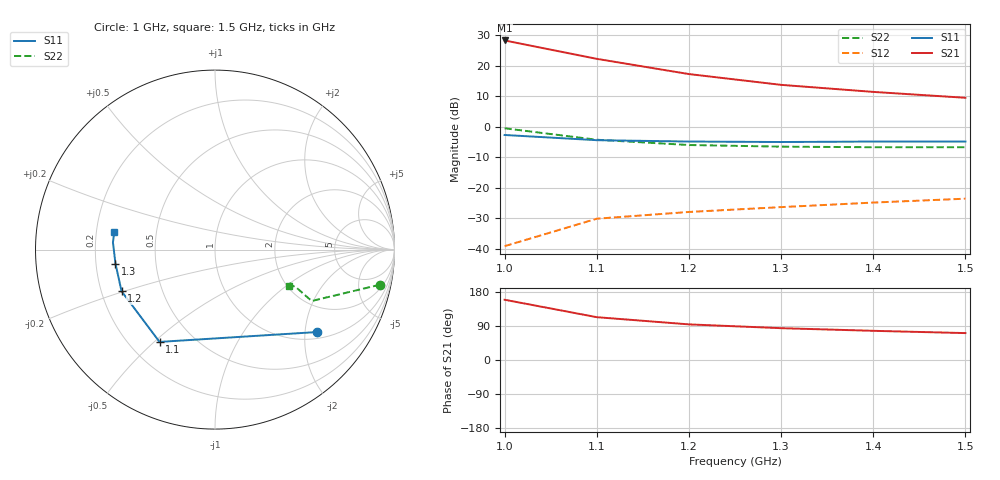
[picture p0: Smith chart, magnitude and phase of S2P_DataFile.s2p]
! Example template for S2P two port Touchstone data file
! Sample 2 port data
#  GHz  S  MA  R  50
! freq1  magS11  angS11  magS21  angS21  magS12  angS12  magS22  angS22
! freq2  magS11  angS11  magS21  angS21  magS12  angS12  magS22  angS22
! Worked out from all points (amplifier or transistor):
!   6 points, 1 GHz to 1.5 GHz, reference 50 ohm
!   highest |S21| = 28.2 dB at 1 GHz (marker M1)
!   |S21| within 3 dB of that: start of sweep to 1.05 GHz
!   unconditionally stable (mu >= 1): 1.293 GHz to end of sweep
!   at 1.1 GHz: K = 0.47, MSG = 26.2 dB, |S12| = -30.2 dB
!   at 1.3 GHz: K = 1.02, MAG = 19.2 dB, |S12| = -26.4 dB
!   at 1.5 GHz: K = 1.19, MAG = 13.9 dB, |S12| = -23.6 dB
!   S11 on the Smith chart (normalised r, x): 1 GHz: 1.17, -2.31; 1.1 GHz: 0.32, -0.52; 1.2 GHz: 0.29, -0.20; 1.3 GHz: 0.28, -0.06; 1.5 GHz: 0.28, +0.08
1  0.73 -39.0  25.84 159.0  0.011 75.0  0.94 -12.0
1.1  0.6 -121.0  12.91 113.0  0.031 48.0  0.61 -28.0
1.2  0.57 -156.0  7.27 94.0  0.04 51.0  0.5 -25.0
1.3  0.56 -172.0  4.84 84.0  0.048 59.0  0.47 -25.0
1.4  0.57 176.0  3.71 77.0  0.057 66.0  0.46 -24.0
1.5  0.57 170.0  2.97 71.0  0.066 69.0  0.46 -26.0
